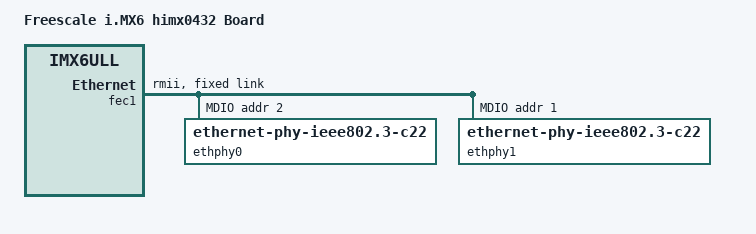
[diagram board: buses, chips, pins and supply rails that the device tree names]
// SPDX-License-Identifier: (GPL-2.0 OR MIT)
//
// Copyright (C) 2016 Freescale Semiconductor, Inc.

/dts-v1/;

#include "imx6ull.dtsi"
#include "imx6ul-14x14-evk.dtsi"

/ {
	model = "Freescale i.MX6 himx0432 Board";
	compatible = "fsl,imx6ull-14x14-evk", "fsl,imx6ull";

	chosen {
		stdout-path = &uart2;
	};

	// Use watchdog for system reset
	// see commit be23b1331fb35b7d5a095ef2c0b522c1f241eee9
	wdt-reboot {
		compatible = "wdt-reboot";
		wdt = <&wdog1>;
		bootph-pre-ram;
	};
};

&wdog1 {
	/delete-property/ fsl,ext-reset-output;
};

&clks {
	assigned-clocks = <&clks IMX6UL_CLK_PLL3_PFD2>;
	assigned-clock-rates = <320000000>;
};

&iomuxc {
	pinctrl-0 = <&pinctrl_hog0>;

	pinctrl_hog0: hog0grp {
		fsl,pins = <
			MX6UL_PAD_CSI_DATA01__GPIO4_IO22        0x1b0b0 /* /REV2 DETECT */
		>;
	};
};

&pinctrl_i2c1 {
	fsl,pins = <
		MX6UL_PAD_GPIO1_IO02__I2C1_SCL 0x4001b8b0
		MX6UL_PAD_GPIO1_IO03__I2C1_SDA 0x4001b8b0
	>;
};

&uart2 {
	/delete-property/ uart-has-rtscts;
};

&pinctrl_uart2 {
	fsl,pins = <
		MX6UL_PAD_UART2_TX_DATA__UART2_DCE_TX	0x1b0b1
		MX6UL_PAD_UART2_RX_DATA__UART2_DCE_RX	0x1b0b1
	>;
};

&fec1 {
	pinctrl-names = "default";
	pinctrl-0 = <&pinctrl_enet1>;
	phy-mode = "rmii";
	status = "okay";

	/delete-property/ phy-handle;
	/delete-property/ phy-supply;

	fixed-link {
		speed = <100>;
		full-duplex;
		pause;
	};

	mdio {
		#address-cells = <1>;
		#size-cells = <0>;

		ethphy0: ethernet-phy@2 {
			compatible = "ethernet-phy-ieee802.3-c22";
			reg = <2>;
		};

		ethphy1: ethernet-phy@1 {
			compatible = "ethernet-phy-ieee802.3-c22";
			reg = <1>;
		};
	};
};

&fec2 {
	status = "disabled";
	/delete-node/ mdio;
};

&pinctrl_enet1 {
	fsl,pins = <
		MX6UL_PAD_ENET1_RX_EN__ENET1_RX_EN	0x1b0b0
		MX6UL_PAD_ENET1_RX_ER__ENET1_RX_ER	0x1b0b0
		MX6UL_PAD_ENET1_RX_DATA0__ENET1_RDATA00	0x1b0b0
		MX6UL_PAD_ENET1_RX_DATA1__ENET1_RDATA01	0x1b0b0
		MX6UL_PAD_ENET1_TX_EN__ENET1_TX_EN	0x1b0b0
		MX6UL_PAD_ENET1_TX_DATA0__ENET1_TDATA00	0x1b0b0
		MX6UL_PAD_ENET1_TX_DATA1__ENET1_TDATA01	0x1b0b0
		MX6UL_PAD_ENET1_TX_CLK__ENET1_REF_CLK1	0x4001b031
		MX6UL_PAD_ENET2_TX_DATA0__GPIO2_IO11 0x1b0b0
		MX6UL_PAD_GPIO1_IO07__ENET1_MDC		0x1b0b0
		MX6UL_PAD_GPIO1_IO06__ENET1_MDIO	0x1b0b0
	>;
};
